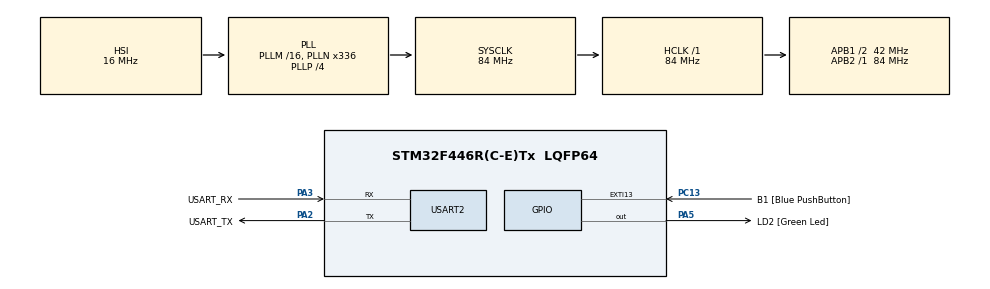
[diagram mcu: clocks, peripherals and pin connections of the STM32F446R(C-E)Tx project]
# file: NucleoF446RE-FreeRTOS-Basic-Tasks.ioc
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FREERTOS.BinarySemaphores01=buttonSemaphore,Dynamic,NULL,Depleted
FREERTOS.Mutexes01=printfMutex,Dynamic,NULL,Available
FREERTOS.Tasks01=defaultTask,24,128,StartDefaultTask,Default,NULL,Dynamic,NULL,NULL;myPrintfTask1,8,128,startMyPrintfTask1,Default,NULL,Dynamic,NULL,NULL;myPrintfTask2,8,128,startMyPrintfTask2,As weak,NULL,Dynamic,NULL,NULL;myPrintfTask3,8,128,startMyPrintfTask3,As weak,NULL,Dynamic,NULL,NULL
FREERTOS.configENABLE_FPU=1
FREERTOS.configUSE_NEWLIB_REENTRANT=1
Mcu.Family=STM32F4
Mcu.Name=STM32F446R(C-E)Tx
Mcu.Package=LQFP64
NVIC.EXTI15_10_IRQn=true\:5\:0\:false\:false\:true\:true\:true\:true\:true
NVIC.PriorityGroup=NVIC_PRIORITYGROUP_4
NVIC.TIM6_DAC_IRQn=true\:15\:0\:false\:false\:true\:false\:false\:true\:true
NVIC.TimeBase=TIM6_DAC_IRQn
NVIC.TimeBaseIP=TIM6
PA13.GPIO_Label=TMS
PA13.Mode=Serial_Wire
PA13.Signal=SYS_JTMS-SWDIO
PA14.GPIO_Label=TCK
PA14.Mode=Serial_Wire
PA14.Signal=SYS_JTCK-SWCLK
PA2.GPIO_Label=USART_TX
PA2.Mode=Asynchronous
PA2.Signal=USART2_TX
PA3.GPIO_Label=USART_RX
PA3.Mode=Asynchronous
PA3.Signal=USART2_RX
PA5.GPIO_Label=LD2 [Green Led]
PA5.Signal=GPIO_Output
PB3.GPIO_Label=SWO
PB3.Signal=SYS_JTDO-SWO
PC13.GPIO_Label=B1 [Blue PushButton]
PC13.GPIO_ModeDefaultEXTI=GPIO_MODE_IT_FALLING
PC13.Signal=GPXTI13
PC14-OSC32_IN.Mode=LSE-External-Oscillator
PC14-OSC32_IN.Signal=RCC_OSC32_IN
PC15-OSC32_OUT.Mode=LSE-External-Oscillator
PC15-OSC32_OUT.Signal=RCC_OSC32_OUT
PH0-OSC_IN.Mode=HSE-External-Oscillator
PH0-OSC_IN.Signal=RCC_OSC_IN
PH1-OSC_OUT.Mode=HSE-External-Oscillator
PH1-OSC_OUT.Signal=RCC_OSC_OUT
ProjectManager.HeapSize=0x200
ProjectManager.StackSize=0x400
ProjectManager.TargetToolchain=STM32CubeIDE
RCC.48MHZClocksFreq_Value=84000000
RCC.AHBFreq_Value=84000000
RCC.APB1CLKDivider=RCC_HCLK_DIV2
RCC.APB1Freq_Value=42000000
RCC.APB1TimFreq_Value=84000000
RCC.APB2Freq_Value=84000000
RCC.APB2TimFreq_Value=84000000
RCC.CortexFreq_Value=84000000
RCC.FLatency-AdvancedSettings=FLASH_LATENCY_2
RCC.HCLKFreq_Value=84000000
RCC.HSE_VALUE=8000000
RCC.HSI_VALUE=16000000
RCC.PLLN=336
RCC.PLLP=RCC_PLLP_DIV4
RCC.SYSCLKFreq_VALUE=84000000
RCC.SYSCLKSource=RCC_SYSCLKSOURCE_PLLCLK
RCC.USBFreq_Value=168000000
RCC.VCOOutputFreq_Value=336000000
USART2.VirtualMode=VM_ASYNC
VP_FREERTOS_VS_CMSIS_V2.Mode=CMSIS_V2
VP_SYS_VS_tim6.Mode=TIM6
board=NUCLEO-F446RE

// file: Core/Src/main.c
/* USER CODE BEGIN Header */
/**
  ******************************************************************************
  * @file           : main.c
  * @brief          : Main program body
  ******************************************************************************
  * @attention
  *
  * Copyright (c) 2026 STMicroelectronics.
  * All rights reserved.
  *
  * This software is licensed under terms that can be found in the LICENSE file
  * in the root directory of this software component.
  * If no LICENSE file comes with this software, it is provided AS-IS.
  *
  ******************************************************************************
  */
/* USER CODE END Header */
#include "main.h"
#include "cmsis_os.h"
#include "usart.h"
#include "gpio.h"

/* USER CODE BEGIN Includes */

#include <stdlib.h>
#include <string.h>
#include <stdarg.h> //for va_list var arg function
#include <stdbool.h>
#include <stdint.h>
#include <stdio.h>
#include <time.h>
#include "platformGlue.h"

#ifdef PLATFORM_HAS_UART
void myprintf(const char *fmt, ...);

/* override _write, is used by puts and printf */
int _write(int file, char *ptr, int len)
{
    UART_TERMINAL_SEND((uint8_t*) ptr, (uint16_t)len);
	return len;
}

void myprintf(const char *fmt, ...) {
	static char buffer[256];
	va_list args;
	va_start(args, fmt);
	vsnprintf(buffer, sizeof(buffer), fmt, args);
	va_end(args);

	int len = strlen(buffer);
	UART_TERMINAL_SEND((uint8_t *) buffer, len);
}

#endif

/* USER CODE END Includes */

void SystemClock_Config(void);
void MX_FREERTOS_Init(void);

int main(void)
{

  /* MCU Configuration--------------------------------------------------------*/

  /* Reset of all peripherals, Initializes the Flash interface and the Systick. */
  HAL_Init();

  /* Configure the system clock */
  SystemClock_Config();

  /* Initialize all configured peripherals */
  MX_GPIO_Init();
  MX_USART2_UART_Init();

  /* Init scheduler */
  osKernelInitialize();  /* Call init function for freertos objects (in cmsis_os2.c) */
  MX_FREERTOS_Init();

  /* Start scheduler */
  osKernelStart();

  /* We should never get here as control is now taken by the scheduler */

  /* Infinite loop */
  while (1)
  {

  }
}

void SystemClock_Config(void)
{
  RCC_OscInitTypeDef RCC_OscInitStruct = {0};
  RCC_ClkInitTypeDef RCC_ClkInitStruct = {0};

  /** Configure the main internal regulator output voltage
  */
  __HAL_RCC_PWR_CLK_ENABLE();
  __HAL_PWR_VOLTAGESCALING_CONFIG(PWR_REGULATOR_VOLTAGE_SCALE3);

  /** Initializes the RCC Oscillators according to the specified parameters
  * in the RCC_OscInitTypeDef structure.
  */
  RCC_OscInitStruct.OscillatorType = RCC_OSCILLATORTYPE_HSI;
  RCC_OscInitStruct.HSIState = RCC_HSI_ON;
  RCC_OscInitStruct.HSICalibrationValue = RCC_HSICALIBRATION_DEFAULT;
  RCC_OscInitStruct.PLL.PLLState = RCC_PLL_ON;
  RCC_OscInitStruct.PLL.PLLSource = RCC_PLLSOURCE_HSI;
  RCC_OscInitStruct.PLL.PLLM = 16;
  RCC_OscInitStruct.PLL.PLLN = 336;
  RCC_OscInitStruct.PLL.PLLP = RCC_PLLP_DIV4;
  RCC_OscInitStruct.PLL.PLLQ = 2;
  RCC_OscInitStruct.PLL.PLLR = 2;
  if (HAL_RCC_OscConfig(&RCC_OscInitStruct) != HAL_OK)
  {
    Error_Handler();
  }

  /** Initializes the CPU, AHB and APB buses clocks
  */
  RCC_ClkInitStruct.ClockType = RCC_CLOCKTYPE_HCLK|RCC_CLOCKTYPE_SYSCLK
                              |RCC_CLOCKTYPE_PCLK1|RCC_CLOCKTYPE_PCLK2;
  RCC_ClkInitStruct.SYSCLKSource = RCC_SYSCLKSOURCE_PLLCLK;
  RCC_ClkInitStruct.AHBCLKDivider = RCC_SYSCLK_DIV1;
  RCC_ClkInitStruct.APB1CLKDivider = RCC_HCLK_DIV2;
  RCC_ClkInitStruct.APB2CLKDivider = RCC_HCLK_DIV1;

  if (HAL_RCC_ClockConfig(&RCC_ClkInitStruct, FLASH_LATENCY_2) != HAL_OK)
  {
    Error_Handler();
  }
}

void HAL_TIM_PeriodElapsedCallback(TIM_HandleTypeDef *htim)
{
  if (htim->Instance == TIM6)
  {
    HAL_IncTick();
  }
}

void Error_Handler(void)
{
  __disable_irq();
  while (1)
  {
  }
}

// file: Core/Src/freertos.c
/* USER CODE BEGIN Header */
/**
  ******************************************************************************
  * File Name          : freertos.c
  * Description        : Code for freertos applications
  ******************************************************************************
  * @attention
  *
  * Copyright (c) 2026 STMicroelectronics.
  * All rights reserved.
  *
  * This software is licensed under terms that can be found in the LICENSE file
  * in the root directory of this software component.
  * If no LICENSE file comes with this software, it is provided AS-IS.
  *
  ******************************************************************************
  */
/* USER CODE END Header */

#include "FreeRTOS.h"
#include "task.h"
#include "main.h"
#include "cmsis_os.h"

/* USER CODE BEGIN Includes */
#include "platformGlue.h"
#include <stdio.h>
/* USER CODE END Includes */

/* Definitions for defaultTask */
osThreadId_t defaultTaskHandle;
const osThreadAttr_t defaultTask_attributes = {
  .name = "defaultTask",
  .stack_size = 128 * 4,
  .priority = (osPriority_t) osPriorityNormal,
};
/* Definitions for myPrintfTask1 */
osThreadId_t myPrintfTask1Handle;
const osThreadAttr_t myPrintfTask1_attributes = {
  .name = "myPrintfTask1",
  .stack_size = 128 * 4,
  .priority = (osPriority_t) osPriorityLow,
};
/* Definitions for myPrintfTask2 */
osThreadId_t myPrintfTask2Handle;
const osThreadAttr_t myPrintfTask2_attributes = {
  .name = "myPrintfTask2",
  .stack_size = 128 * 4,
  .priority = (osPriority_t) osPriorityLow,
};
/* Definitions for myPrintfTask3 */
osThreadId_t myPrintfTask3Handle;
const osThreadAttr_t myPrintfTask3_attributes = {
  .name = "myPrintfTask3",
  .stack_size = 128 * 4,
  .priority = (osPriority_t) osPriorityLow,
};
/* Definitions for printfMutex */
osMutexId_t printfMutexHandle;
const osMutexAttr_t printfMutex_attributes = {
  .name = "printfMutex"
};
/* Definitions for buttonSemaphore */
osSemaphoreId_t buttonSemaphoreHandle;
const osSemaphoreAttr_t buttonSemaphore_attributes = {
  .name = "buttonSemaphore"
};

/* USER CODE BEGIN FunctionPrototypes */

static uint8_t LED_mode = 0;
#define TOGGLE_BIT(bit)			(bit = bit ^ 0x1)

/* USER CODE END FunctionPrototypes */

void StartDefaultTask(void *argument);
void startMyPrintfTask1(void *argument);
void startMyPrintfTask2(void *argument);
void startMyPrintfTask3(void *argument);

void MX_FREERTOS_Init(void); /* (MISRA C 2004 rule 8.1) */

void MX_FREERTOS_Init(void) {
  /* Create the mutex(es) */
  /* creation of printfMutex */
  printfMutexHandle = osMutexNew(&printfMutex_attributes);

  /* Create the semaphores(s) */
  /* creation of buttonSemaphore */
  buttonSemaphoreHandle = osSemaphoreNew(1, 0, &buttonSemaphore_attributes);

  /* Create the thread(s) */
  /* creation of defaultTask */
  defaultTaskHandle = osThreadNew(StartDefaultTask, NULL, &defaultTask_attributes);

  /* creation of myPrintfTask1 */
  myPrintfTask1Handle = osThreadNew(startMyPrintfTask1, NULL, &myPrintfTask1_attributes);

  /* creation of myPrintfTask2 */
  myPrintfTask2Handle = osThreadNew(startMyPrintfTask2, NULL, &myPrintfTask2_attributes);

  /* creation of myPrintfTask3 */
  myPrintfTask3Handle = osThreadNew(startMyPrintfTask3, NULL, &myPrintfTask3_attributes);

  /* USER CODE BEGIN RTOS_EVENTS */
  /* add events, ... */

  printf("Starting FreeRTOS Demo 1\r\n");
  printf("FreeRTOS version: %s\r\n", tskKERNEL_VERSION_NUMBER);
  /* USER CODE END RTOS_EVENTS */

}

void StartDefaultTask(void *argument)
{
  /* USER CODE BEGIN StartDefaultTask */
  /* Infinite loop */
  for(;;)
  {
      osSemaphoreAcquire(buttonSemaphoreHandle,osWaitForever);
      TOGGLE_BIT(LED_mode);

    osDelay(1);
  }
  /* USER CODE END StartDefaultTask */
}

void startMyPrintfTask1(void *argument)
{
  /* USER CODE BEGIN startMyPrintfTask1 */
  /* Infinite loop */
	// Converts 500ms safely into the correct number of ticks
	uint32_t t1 = (500U * osKernelGetTickFreq()) / 1000U;
	uint32_t t2 = pdMS_TO_TICKS(250);
  for(;;)
  {
	  NUCLEO_LED_toggle();

	  // https://arm-software.github.io/CMSIS_6/main/RTOS2/group__CMSIS__RTOS__Wait.html
	  if(LED_mode == 0){
		  osDelay(t1);
	  }else{
		  osDelay(t2);
	  }

	  //osDelayUntil(500);
  }
  /* USER CODE END startMyPrintfTask1 */
}

__weak void startMyPrintfTask2(void *argument)
{
  /* USER CODE BEGIN startMyPrintfTask2 */
  /* Infinite loop */
  for(;;)
  {
	  osMutexAcquire(printfMutexHandle, osWaitForever);
	  printf("Hello From Task 2\n");
	  osMutexRelease(printfMutexHandle);
    osDelay(250);
  }
  /* USER CODE END startMyPrintfTask2 */
}

__weak void startMyPrintfTask3(void *argument)
{
  /* USER CODE BEGIN startMyPrintfTask3 */
  /* Infinite loop */
	uint32_t cnt = 0;
  for(;;)
  {
	  osMutexAcquire(printfMutexHandle, osWaitForever);
	  printf("\tHello From Task 3: %ld\n", cnt);
	  osMutexRelease(printfMutexHandle);

	  cnt++;
    osDelay(500);
  }
  /* USER CODE END startMyPrintfTask3 */
}

/* USER CODE BEGIN Application */

void HAL_GPIO_EXTI_Callback(uint16_t GPIO_Pin)
{
	if(GPIO_Pin == B1_Pin){
        osSemaphoreRelease(buttonSemaphoreHandle);
	}
}

/* USER CODE END Application */
